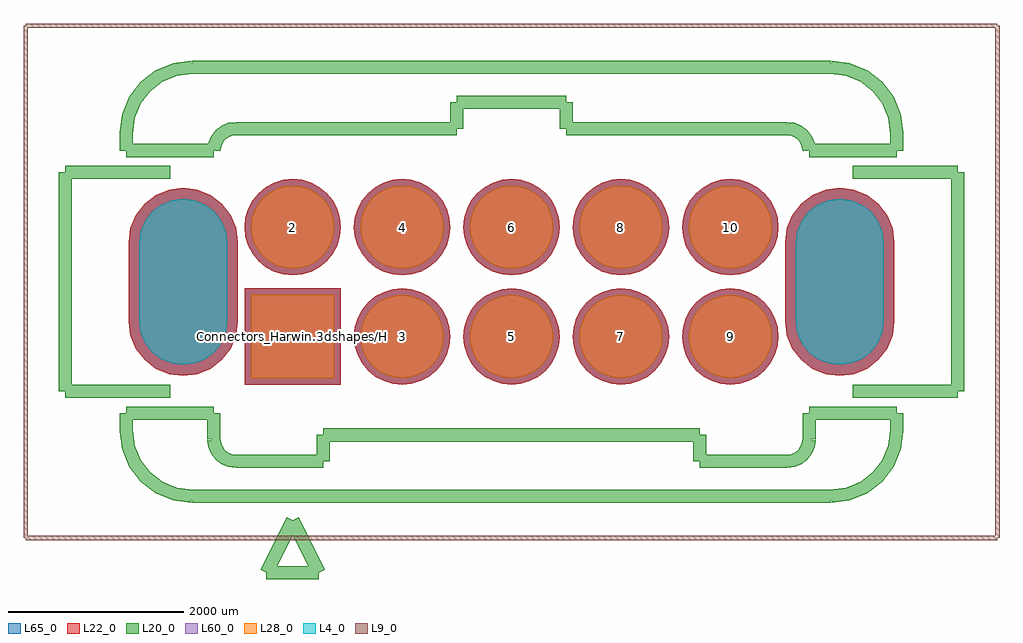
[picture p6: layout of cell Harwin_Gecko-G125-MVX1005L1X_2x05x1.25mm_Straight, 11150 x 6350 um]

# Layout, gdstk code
import gdstk
lib = gdstk.Library(unit=1e-6, precision=1e-09)
def R(c, l, rs):  # rectangles x0, y0, x1, y1
    for r in rs: c.add(gdstk.rectangle(r[:2], r[2:], *l))
def P(c, l, *ps):  # polygons
    for p in ps: c.add(gdstk.Polygon(p, *l))
L4_0 = (4, 0)
L9_0 = (9, 0)
L20_0 = (20, 0)
L22_0 = (22, 0)
L28_0 = (28, 0)
L60_0 = (60, 0)
L65_0 = (65, 0)

harwin_gecko_g125_mvx100 = lib.new_cell('Harwin_Gecko-G125-MVX1005L1X_2x05x1.25mm_Straight')
P(harwin_gecko_g125_mvx100, L4_0, [(6250,-325),(6379.41,-307.963),(6500,-258.013),(6603.553,-178.553),(6683.013,-75),(6732.963,45.59),(6750,175),(6750,1075),(6732.963,1204.41),(6683.013,1325),(6603.553,1428.553),(6500,1508.013),(6379.41,1557.963),(6250,1575),(6120.59,1557.963),(6000,1508.013),(5896.447,1428.553),(5816.987,1325),(5767.037,1204.41),(5750,1075),(5750,175),(5767.037,45.59),(5816.987,-75),(5896.447,-178.553),(6000,-258.013),(6120.59,-307.963)],
  [(-1250,-325),(-1120.59,-307.963),(-1000,-258.013),(-896.447,-178.553),(-816.987,-75),(-767.037,45.59),(-750,175),(-750,1075),(-767.037,1204.41),(-816.987,1325),(-896.447,1428.553),(-1000,1508.013),(-1120.59,1557.963),(-1250,1575),(-1379.41,1557.963),(-1500,1508.013),(-1603.553,1428.553),(-1683.013,1325),(-1732.963,1204.41),(-1750,1075),(-1750,175),(-1732.963,45.59),(-1683.013,-75),(-1603.553,-178.553),(-1500,-258.013),(-1379.41,-307.963)])
R(harwin_gecko_g125_mvx100, L22_0, [(-550,-550,550,550)])
P(harwin_gecko_g125_mvx100, L22_0, [(6250,-450),(6411.762,-428.704),(6562.5,-366.266),(6691.942,-266.942),(6791.266,-137.5),(6853.704,13.238),(6875,175),(6875,1075),(6853.704,1236.762),(6791.266,1387.5),(6691.942,1516.942),(6562.5,1616.266),(6411.762,1678.704),(6250,1700),(6088.238,1678.704),(5937.5,1616.266),(5808.058,1516.942),(5708.734,1387.5),(5646.296,1236.762),(5625,1075),(5625,175),(5646.296,13.238),(5708.734,-137.5),(5808.058,-266.942),(5937.5,-366.266),(6088.238,-428.704)],
  [(-1250,-450),(-1088.238,-428.704),(-937.5,-366.266),(-808.058,-266.942),(-708.734,-137.5),(-646.296,13.238),(-625,175),(-625,1075),(-646.296,1236.762),(-708.734,1387.5),(-808.058,1516.942),(-937.5,1616.266),(-1088.238,1678.704),(-1250,1700),(-1411.762,1678.704),(-1562.5,1616.266),(-1691.942,1516.942),(-1791.266,1387.5),(-1853.704,1236.762),(-1875,1075),(-1875,175),(-1853.704,13.238),(-1791.266,-137.5),(-1691.942,-266.942),(-1562.5,-366.266),(-1411.762,-428.704)],
  [(5550,1250),(5539.432,1357.3),(5508.134,1460.476),(5457.308,1555.564),(5388.909,1638.909),(5305.564,1707.308),(5210.476,1758.134),(5107.3,1789.432),(5000,1800),(4892.7,1789.432),(4789.524,1758.134),(4694.436,1707.308),(4611.091,1638.909),(4542.692,1555.564),(4491.866,1460.476),(4460.568,1357.3),(4450,1250),(4460.568,1142.7),(4491.866,1039.524),(4542.692,944.436),(4611.091,861.091),(4694.436,792.692),(4789.524,741.866),(4892.7,710.568),(5000,700),(5107.3,710.568),(5210.476,741.866),(5305.564,792.692),(5388.909,861.091),(5457.308,944.436),(5508.134,1039.524),(5539.432,1142.7)],
  [(4300,1250),(4289.432,1357.3),(4258.134,1460.476),(4207.308,1555.564),(4138.909,1638.909),(4055.564,1707.308),(3960.476,1758.134),(3857.3,1789.432),(3750,1800),(3642.7,1789.432),(3539.524,1758.134),(3444.436,1707.308),(3361.091,1638.909),(3292.692,1555.564),(3241.866,1460.476),(3210.568,1357.3),(3200,1250),(3210.568,1142.7),(3241.866,1039.524),(3292.692,944.436),(3361.091,861.091),(3444.436,792.692),(3539.524,741.866),(3642.7,710.568),(3750,700),(3857.3,710.568),(3960.476,741.866),(4055.564,792.692),(4138.909,861.091),(4207.308,944.436),(4258.134,1039.524),(4289.432,1142.7)],
  [(3050,1250),(3039.432,1357.3),(3008.134,1460.476),(2957.308,1555.564),(2888.909,1638.909),(2805.564,1707.308),(2710.476,1758.134),(2607.3,1789.432),(2500,1800),(2392.7,1789.432),(2289.524,1758.134),(2194.436,1707.308),(2111.091,1638.909),(2042.692,1555.564),(1991.866,1460.476),(1960.568,1357.3),(1950,1250),(1960.568,1142.7),(1991.866,1039.524),(2042.692,944.436),(2111.091,861.091),(2194.436,792.692),(2289.524,741.866),(2392.7,710.568),(2500,700),(2607.3,710.568),(2710.476,741.866),(2805.564,792.692),(2888.909,861.091),(2957.308,944.436),(3008.134,1039.524),(3039.432,1142.7)],
  [(1800,1250),(1789.432,1357.3),(1758.134,1460.476),(1707.308,1555.564),(1638.909,1638.909),(1555.564,1707.308),(1460.476,1758.134),(1357.3,1789.432),(1250,1800),(1142.7,1789.432),(1039.524,1758.134),(944.436,1707.308),(861.091,1638.909),(792.692,1555.564),(741.866,1460.476),(710.568,1357.3),(700,1250),(710.568,1142.7),(741.866,1039.524),(792.692,944.436),(861.091,861.091),(944.436,792.692),(1039.524,741.866),(1142.7,710.568),(1250,700),(1357.3,710.568),(1460.476,741.866),(1555.564,792.692),(1638.909,861.091),(1707.308,944.436),(1758.134,1039.524),(1789.432,1142.7)],
  [(550,1250),(539.432,1357.3),(508.134,1460.476),(457.308,1555.564),(388.909,1638.909),(305.564,1707.308),(210.476,1758.134),(107.3,1789.432),(0,1800),(-107.3,1789.432),(-210.476,1758.134),(-305.564,1707.308),(-388.909,1638.909),(-457.308,1555.564),(-508.134,1460.476),(-539.432,1357.3),(-550,1250),(-539.432,1142.7),(-508.134,1039.524),(-457.308,944.436),(-388.909,861.091),(-305.564,792.692),(-210.476,741.866),(-107.3,710.568),(0,700),(107.3,710.568),(210.476,741.866),(305.564,792.692),(388.909,861.091),(457.308,944.436),(508.134,1039.524),(539.432,1142.7)],
  [(5550,0),(5539.432,107.3),(5508.134,210.476),(5457.308,305.564),(5388.909,388.909),(5305.564,457.308),(5210.476,508.134),(5107.3,539.432),(5000,550),(4892.7,539.432),(4789.524,508.134),(4694.436,457.308),(4611.091,388.909),(4542.692,305.564),(4491.866,210.476),(4460.568,107.3),(4450,0),(4460.568,-107.3),(4491.866,-210.476),(4542.692,-305.564),(4611.091,-388.909),(4694.436,-457.308),(4789.524,-508.134),(4892.7,-539.432),(5000,-550),(5107.3,-539.432),(5210.476,-508.134),(5305.564,-457.308),(5388.909,-388.909),(5457.308,-305.564),(5508.134,-210.476),(5539.432,-107.3)],
  [(4300,0),(4289.432,107.3),(4258.134,210.476),(4207.308,305.564),(4138.909,388.909),(4055.564,457.308),(3960.476,508.134),(3857.3,539.432),(3750,550),(3642.7,539.432),(3539.524,508.134),(3444.436,457.308),(3361.091,388.909),(3292.692,305.564),(3241.866,210.476),(3210.568,107.3),(3200,0),(3210.568,-107.3),(3241.866,-210.476),(3292.692,-305.564),(3361.091,-388.909),(3444.436,-457.308),(3539.524,-508.134),(3642.7,-539.432),(3750,-550),(3857.3,-539.432),(3960.476,-508.134),(4055.564,-457.308),(4138.909,-388.909),(4207.308,-305.564),(4258.134,-210.476),(4289.432,-107.3)],
  [(3050,0),(3039.432,107.3),(3008.134,210.476),(2957.308,305.564),(2888.909,388.909),(2805.564,457.308),(2710.476,508.134),(2607.3,539.432),(2500,550),(2392.7,539.432),(2289.524,508.134),(2194.436,457.308),(2111.091,388.909),(2042.692,305.564),(1991.866,210.476),(1960.568,107.3),(1950,0),(1960.568,-107.3),(1991.866,-210.476),(2042.692,-305.564),(2111.091,-388.909),(2194.436,-457.308),(2289.524,-508.134),(2392.7,-539.432),(2500,-550),(2607.3,-539.432),(2710.476,-508.134),(2805.564,-457.308),(2888.909,-388.909),(2957.308,-305.564),(3008.134,-210.476),(3039.432,-107.3)],
  [(1800,0),(1789.432,107.3),(1758.134,210.476),(1707.308,305.564),(1638.909,388.909),(1555.564,457.308),(1460.476,508.134),(1357.3,539.432),(1250,550),(1142.7,539.432),(1039.524,508.134),(944.436,457.308),(861.091,388.909),(792.692,305.564),(741.866,210.476),(710.568,107.3),(700,0),(710.568,-107.3),(741.866,-210.476),(792.692,-305.564),(861.091,-388.909),(944.436,-457.308),(1039.524,-508.134),(1142.7,-539.432),(1250,-550),(1357.3,-539.432),(1460.476,-508.134),(1555.564,-457.308),(1638.909,-388.909),(1707.308,-305.564),(1758.134,-210.476),(1789.432,-107.3)])
R(harwin_gecko_g125_mvx100, L28_0, [(-475,-475,475,475)])
P(harwin_gecko_g125_mvx100, L28_0, [(5475,1250),(5465.873,1342.668),(5438.843,1431.775),(5394.948,1513.896),(5335.876,1585.876),(5263.896,1644.948),(5181.775,1688.843),(5092.668,1715.873),(5000,1725),(4907.332,1715.873),(4818.225,1688.843),(4736.104,1644.948),(4664.124,1585.876),(4605.052,1513.896),(4561.157,1431.775),(4534.127,1342.668),(4525,1250),(4534.127,1157.332),(4561.157,1068.225),(4605.052,986.104),(4664.124,914.124),(4736.104,855.052),(4818.225,811.157),(4907.332,784.127),(5000,775),(5092.668,784.127),(5181.775,811.157),(5263.896,855.052),(5335.876,914.124),(5394.948,986.104),(5438.843,1068.225),(5465.873,1157.332)],
  [(4225,1250),(4215.873,1342.668),(4188.843,1431.775),(4144.948,1513.896),(4085.876,1585.876),(4013.896,1644.948),(3931.775,1688.843),(3842.668,1715.873),(3750,1725),(3657.332,1715.873),(3568.225,1688.843),(3486.104,1644.948),(3414.124,1585.876),(3355.052,1513.896),(3311.157,1431.775),(3284.127,1342.668),(3275,1250),(3284.127,1157.332),(3311.157,1068.225),(3355.052,986.104),(3414.124,914.124),(3486.104,855.052),(3568.225,811.157),(3657.332,784.127),(3750,775),(3842.668,784.127),(3931.775,811.157),(4013.896,855.052),(4085.876,914.124),(4144.948,986.104),(4188.843,1068.225),(4215.873,1157.332)],
  [(2975,1250),(2965.873,1342.668),(2938.843,1431.775),(2894.948,1513.896),(2835.876,1585.876),(2763.896,1644.948),(2681.775,1688.843),(2592.668,1715.873),(2500,1725),(2407.332,1715.873),(2318.225,1688.843),(2236.104,1644.948),(2164.124,1585.876),(2105.052,1513.896),(2061.157,1431.775),(2034.127,1342.668),(2025,1250),(2034.127,1157.332),(2061.157,1068.225),(2105.052,986.104),(2164.124,914.124),(2236.104,855.052),(2318.225,811.157),(2407.332,784.127),(2500,775),(2592.668,784.127),(2681.775,811.157),(2763.896,855.052),(2835.876,914.124),(2894.948,986.104),(2938.843,1068.225),(2965.873,1157.332)],
  [(1725,1250),(1715.873,1342.668),(1688.843,1431.775),(1644.948,1513.896),(1585.876,1585.876),(1513.896,1644.948),(1431.775,1688.843),(1342.668,1715.873),(1250,1725),(1157.332,1715.873),(1068.225,1688.843),(986.104,1644.948),(914.124,1585.876),(855.052,1513.896),(811.157,1431.775),(784.127,1342.668),(775,1250),(784.127,1157.332),(811.157,1068.225),(855.052,986.104),(914.124,914.124),(986.104,855.052),(1068.225,811.157),(1157.332,784.127),(1250,775),(1342.668,784.127),(1431.775,811.157),(1513.896,855.052),(1585.876,914.124),(1644.948,986.104),(1688.843,1068.225),(1715.873,1157.332)],
  [(475,1250),(465.873,1342.668),(438.843,1431.775),(394.948,1513.896),(335.876,1585.876),(263.896,1644.948),(181.775,1688.843),(92.668,1715.873),(0,1725),(-92.668,1715.873),(-181.775,1688.843),(-263.896,1644.948),(-335.876,1585.876),(-394.948,1513.896),(-438.843,1431.775),(-465.873,1342.668),(-475,1250),(-465.873,1157.332),(-438.843,1068.225),(-394.948,986.104),(-335.876,914.124),(-263.896,855.052),(-181.775,811.157),(-92.668,784.127),(0,775),(92.668,784.127),(181.775,811.157),(263.896,855.052),(335.876,914.124),(394.948,986.104),(438.843,1068.225),(465.873,1157.332)],
  [(5475,0),(5465.873,92.668),(5438.843,181.775),(5394.948,263.896),(5335.876,335.876),(5263.896,394.948),(5181.775,438.843),(5092.668,465.873),(5000,475),(4907.332,465.873),(4818.225,438.843),(4736.104,394.948),(4664.124,335.876),(4605.052,263.896),(4561.157,181.775),(4534.127,92.668),(4525,0),(4534.127,-92.668),(4561.157,-181.775),(4605.052,-263.896),(4664.124,-335.876),(4736.104,-394.948),(4818.225,-438.843),(4907.332,-465.873),(5000,-475),(5092.668,-465.873),(5181.775,-438.843),(5263.896,-394.948),(5335.876,-335.876),(5394.948,-263.896),(5438.843,-181.775),(5465.873,-92.668)],
  [(4225,0),(4215.873,92.668),(4188.843,181.775),(4144.948,263.896),(4085.876,335.876),(4013.896,394.948),(3931.775,438.843),(3842.668,465.873),(3750,475),(3657.332,465.873),(3568.225,438.843),(3486.104,394.948),(3414.124,335.876),(3355.052,263.896),(3311.157,181.775),(3284.127,92.668),(3275,0),(3284.127,-92.668),(3311.157,-181.775),(3355.052,-263.896),(3414.124,-335.876),(3486.104,-394.948),(3568.225,-438.843),(3657.332,-465.873),(3750,-475),(3842.668,-465.873),(3931.775,-438.843),(4013.896,-394.948),(4085.876,-335.876),(4144.948,-263.896),(4188.843,-181.775),(4215.873,-92.668)],
  [(2975,0),(2965.873,92.668),(2938.843,181.775),(2894.948,263.896),(2835.876,335.876),(2763.896,394.948),(2681.775,438.843),(2592.668,465.873),(2500,475),(2407.332,465.873),(2318.225,438.843),(2236.104,394.948),(2164.124,335.876),(2105.052,263.896),(2061.157,181.775),(2034.127,92.668),(2025,0),(2034.127,-92.668),(2061.157,-181.775),(2105.052,-263.896),(2164.124,-335.876),(2236.104,-394.948),(2318.225,-438.843),(2407.332,-465.873),(2500,-475),(2592.668,-465.873),(2681.775,-438.843),(2763.896,-394.948),(2835.876,-335.876),(2894.948,-263.896),(2938.843,-181.775),(2965.873,-92.668)],
  [(1725,0),(1715.873,92.668),(1688.843,181.775),(1644.948,263.896),(1585.876,335.876),(1513.896,394.948),(1431.775,438.843),(1342.668,465.873),(1250,475),(1157.332,465.873),(1068.225,438.843),(986.104,394.948),(914.124,335.876),(855.052,263.896),(811.157,181.775),(784.127,92.668),(775,0),(784.127,-92.668),(811.157,-181.775),(855.052,-263.896),(914.124,-335.876),(986.104,-394.948),(1068.225,-438.843),(1157.332,-465.873),(1250,-475),(1342.668,-465.873),(1431.775,-438.843),(1513.896,-394.948),(1585.876,-335.876),(1644.948,-263.896),(1688.843,-181.775),(1715.873,-92.668)])
R(harwin_gecko_g125_mvx100, L60_0, [(-475,-475,475,475)])
P(harwin_gecko_g125_mvx100, L60_0, [(5475,1250),(5465.873,1342.668),(5438.843,1431.775),(5394.948,1513.896),(5335.876,1585.876),(5263.896,1644.948),(5181.775,1688.843),(5092.668,1715.873),(5000,1725),(4907.332,1715.873),(4818.225,1688.843),(4736.104,1644.948),(4664.124,1585.876),(4605.052,1513.896),(4561.157,1431.775),(4534.127,1342.668),(4525,1250),(4534.127,1157.332),(4561.157,1068.225),(4605.052,986.104),(4664.124,914.124),(4736.104,855.052),(4818.225,811.157),(4907.332,784.127),(5000,775),(5092.668,784.127),(5181.775,811.157),(5263.896,855.052),(5335.876,914.124),(5394.948,986.104),(5438.843,1068.225),(5465.873,1157.332)],
  [(4225,1250),(4215.873,1342.668),(4188.843,1431.775),(4144.948,1513.896),(4085.876,1585.876),(4013.896,1644.948),(3931.775,1688.843),(3842.668,1715.873),(3750,1725),(3657.332,1715.873),(3568.225,1688.843),(3486.104,1644.948),(3414.124,1585.876),(3355.052,1513.896),(3311.157,1431.775),(3284.127,1342.668),(3275,1250),(3284.127,1157.332),(3311.157,1068.225),(3355.052,986.104),(3414.124,914.124),(3486.104,855.052),(3568.225,811.157),(3657.332,784.127),(3750,775),(3842.668,784.127),(3931.775,811.157),(4013.896,855.052),(4085.876,914.124),(4144.948,986.104),(4188.843,1068.225),(4215.873,1157.332)],
  [(2975,1250),(2965.873,1342.668),(2938.843,1431.775),(2894.948,1513.896),(2835.876,1585.876),(2763.896,1644.948),(2681.775,1688.843),(2592.668,1715.873),(2500,1725),(2407.332,1715.873),(2318.225,1688.843),(2236.104,1644.948),(2164.124,1585.876),(2105.052,1513.896),(2061.157,1431.775),(2034.127,1342.668),(2025,1250),(2034.127,1157.332),(2061.157,1068.225),(2105.052,986.104),(2164.124,914.124),(2236.104,855.052),(2318.225,811.157),(2407.332,784.127),(2500,775),(2592.668,784.127),(2681.775,811.157),(2763.896,855.052),(2835.876,914.124),(2894.948,986.104),(2938.843,1068.225),(2965.873,1157.332)],
  [(1725,1250),(1715.873,1342.668),(1688.843,1431.775),(1644.948,1513.896),(1585.876,1585.876),(1513.896,1644.948),(1431.775,1688.843),(1342.668,1715.873),(1250,1725),(1157.332,1715.873),(1068.225,1688.843),(986.104,1644.948),(914.124,1585.876),(855.052,1513.896),(811.157,1431.775),(784.127,1342.668),(775,1250),(784.127,1157.332),(811.157,1068.225),(855.052,986.104),(914.124,914.124),(986.104,855.052),(1068.225,811.157),(1157.332,784.127),(1250,775),(1342.668,784.127),(1431.775,811.157),(1513.896,855.052),(1585.876,914.124),(1644.948,986.104),(1688.843,1068.225),(1715.873,1157.332)],
  [(475,1250),(465.873,1342.668),(438.843,1431.775),(394.948,1513.896),(335.876,1585.876),(263.896,1644.948),(181.775,1688.843),(92.668,1715.873),(0,1725),(-92.668,1715.873),(-181.775,1688.843),(-263.896,1644.948),(-335.876,1585.876),(-394.948,1513.896),(-438.843,1431.775),(-465.873,1342.668),(-475,1250),(-465.873,1157.332),(-438.843,1068.225),(-394.948,986.104),(-335.876,914.124),(-263.896,855.052),(-181.775,811.157),(-92.668,784.127),(0,775),(92.668,784.127),(181.775,811.157),(263.896,855.052),(335.876,914.124),(394.948,986.104),(438.843,1068.225),(465.873,1157.332)],
  [(5475,0),(5465.873,92.668),(5438.843,181.775),(5394.948,263.896),(5335.876,335.876),(5263.896,394.948),(5181.775,438.843),(5092.668,465.873),(5000,475),(4907.332,465.873),(4818.225,438.843),(4736.104,394.948),(4664.124,335.876),(4605.052,263.896),(4561.157,181.775),(4534.127,92.668),(4525,0),(4534.127,-92.668),(4561.157,-181.775),(4605.052,-263.896),(4664.124,-335.876),(4736.104,-394.948),(4818.225,-438.843),(4907.332,-465.873),(5000,-475),(5092.668,-465.873),(5181.775,-438.843),(5263.896,-394.948),(5335.876,-335.876),(5394.948,-263.896),(5438.843,-181.775),(5465.873,-92.668)],
  [(4225,0),(4215.873,92.668),(4188.843,181.775),(4144.948,263.896),(4085.876,335.876),(4013.896,394.948),(3931.775,438.843),(3842.668,465.873),(3750,475),(3657.332,465.873),(3568.225,438.843),(3486.104,394.948),(3414.124,335.876),(3355.052,263.896),(3311.157,181.775),(3284.127,92.668),(3275,0),(3284.127,-92.668),(3311.157,-181.775),(3355.052,-263.896),(3414.124,-335.876),(3486.104,-394.948),(3568.225,-438.843),(3657.332,-465.873),(3750,-475),(3842.668,-465.873),(3931.775,-438.843),(4013.896,-394.948),(4085.876,-335.876),(4144.948,-263.896),(4188.843,-181.775),(4215.873,-92.668)],
  [(2975,0),(2965.873,92.668),(2938.843,181.775),(2894.948,263.896),(2835.876,335.876),(2763.896,394.948),(2681.775,438.843),(2592.668,465.873),(2500,475),(2407.332,465.873),(2318.225,438.843),(2236.104,394.948),(2164.124,335.876),(2105.052,263.896),(2061.157,181.775),(2034.127,92.668),(2025,0),(2034.127,-92.668),(2061.157,-181.775),(2105.052,-263.896),(2164.124,-335.876),(2236.104,-394.948),(2318.225,-438.843),(2407.332,-465.873),(2500,-475),(2592.668,-465.873),(2681.775,-438.843),(2763.896,-394.948),(2835.876,-335.876),(2894.948,-263.896),(2938.843,-181.775),(2965.873,-92.668)],
  [(1725,0),(1715.873,92.668),(1688.843,181.775),(1644.948,263.896),(1585.876,335.876),(1513.896,394.948),(1431.775,438.843),(1342.668,465.873),(1250,475),(1157.332,465.873),(1068.225,438.843),(986.104,394.948),(914.124,335.876),(855.052,263.896),(811.157,181.775),(784.127,92.668),(775,0),(784.127,-92.668),(811.157,-181.775),(855.052,-263.896),(914.124,-335.876),(986.104,-394.948),(1068.225,-438.843),(1157.332,-465.873),(1250,-475),(1342.668,-465.873),(1431.775,-438.843),(1513.896,-394.948),(1585.876,-335.876),(1644.948,-263.896),(1688.843,-181.775),(1715.873,-92.668)])
R(harwin_gecko_g125_mvx100, L65_0, [(-550,-550,550,550)])
P(harwin_gecko_g125_mvx100, L65_0, [(6250,-450),(6411.762,-428.704),(6562.5,-366.266),(6691.942,-266.942),(6791.266,-137.5),(6853.704,13.238),(6875,175),(6875,1075),(6853.704,1236.762),(6791.266,1387.5),(6691.942,1516.942),(6562.5,1616.266),(6411.762,1678.704),(6250,1700),(6088.238,1678.704),(5937.5,1616.266),(5808.058,1516.942),(5708.734,1387.5),(5646.296,1236.762),(5625,1075),(5625,175),(5646.296,13.238),(5708.734,-137.5),(5808.058,-266.942),(5937.5,-366.266),(6088.238,-428.704)],
  [(-1250,-450),(-1088.238,-428.704),(-937.5,-366.266),(-808.058,-266.942),(-708.734,-137.5),(-646.296,13.238),(-625,175),(-625,1075),(-646.296,1236.762),(-708.734,1387.5),(-808.058,1516.942),(-937.5,1616.266),(-1088.238,1678.704),(-1250,1700),(-1411.762,1678.704),(-1562.5,1616.266),(-1691.942,1516.942),(-1791.266,1387.5),(-1853.704,1236.762),(-1875,1075),(-1875,175),(-1853.704,13.238),(-1791.266,-137.5),(-1691.942,-266.942),(-1562.5,-366.266),(-1411.762,-428.704)],
  [(5550,1250),(5539.432,1357.3),(5508.134,1460.476),(5457.308,1555.564),(5388.909,1638.909),(5305.564,1707.308),(5210.476,1758.134),(5107.3,1789.432),(5000,1800),(4892.7,1789.432),(4789.524,1758.134),(4694.436,1707.308),(4611.091,1638.909),(4542.692,1555.564),(4491.866,1460.476),(4460.568,1357.3),(4450,1250),(4460.568,1142.7),(4491.866,1039.524),(4542.692,944.436),(4611.091,861.091),(4694.436,792.692),(4789.524,741.866),(4892.7,710.568),(5000,700),(5107.3,710.568),(5210.476,741.866),(5305.564,792.692),(5388.909,861.091),(5457.308,944.436),(5508.134,1039.524),(5539.432,1142.7)],
  [(4300,1250),(4289.432,1357.3),(4258.134,1460.476),(4207.308,1555.564),(4138.909,1638.909),(4055.564,1707.308),(3960.476,1758.134),(3857.3,1789.432),(3750,1800),(3642.7,1789.432),(3539.524,1758.134),(3444.436,1707.308),(3361.091,1638.909),(3292.692,1555.564),(3241.866,1460.476),(3210.568,1357.3),(3200,1250),(3210.568,1142.7),(3241.866,1039.524),(3292.692,944.436),(3361.091,861.091),(3444.436,792.692),(3539.524,741.866),(3642.7,710.568),(3750,700),(3857.3,710.568),(3960.476,741.866),(4055.564,792.692),(4138.909,861.091),(4207.308,944.436),(4258.134,1039.524),(4289.432,1142.7)],
  [(3050,1250),(3039.432,1357.3),(3008.134,1460.476),(2957.308,1555.564),(2888.909,1638.909),(2805.564,1707.308),(2710.476,1758.134),(2607.3,1789.432),(2500,1800),(2392.7,1789.432),(2289.524,1758.134),(2194.436,1707.308),(2111.091,1638.909),(2042.692,1555.564),(1991.866,1460.476),(1960.568,1357.3),(1950,1250),(1960.568,1142.7),(1991.866,1039.524),(2042.692,944.436),(2111.091,861.091),(2194.436,792.692),(2289.524,741.866),(2392.7,710.568),(2500,700),(2607.3,710.568),(2710.476,741.866),(2805.564,792.692),(2888.909,861.091),(2957.308,944.436),(3008.134,1039.524),(3039.432,1142.7)],
  [(1800,1250),(1789.432,1357.3),(1758.134,1460.476),(1707.308,1555.564),(1638.909,1638.909),(1555.564,1707.308),(1460.476,1758.134),(1357.3,1789.432),(1250,1800),(1142.7,1789.432),(1039.524,1758.134),(944.436,1707.308),(861.091,1638.909),(792.692,1555.564),(741.866,1460.476),(710.568,1357.3),(700,1250),(710.568,1142.7),(741.866,1039.524),(792.692,944.436),(861.091,861.091),(944.436,792.692),(1039.524,741.866),(1142.7,710.568),(1250,700),(1357.3,710.568),(1460.476,741.866),(1555.564,792.692),(1638.909,861.091),(1707.308,944.436),(1758.134,1039.524),(1789.432,1142.7)],
  [(550,1250),(539.432,1357.3),(508.134,1460.476),(457.308,1555.564),(388.909,1638.909),(305.564,1707.308),(210.476,1758.134),(107.3,1789.432),(0,1800),(-107.3,1789.432),(-210.476,1758.134),(-305.564,1707.308),(-388.909,1638.909),(-457.308,1555.564),(-508.134,1460.476),(-539.432,1357.3),(-550,1250),(-539.432,1142.7),(-508.134,1039.524),(-457.308,944.436),(-388.909,861.091),(-305.564,792.692),(-210.476,741.866),(-107.3,710.568),(0,700),(107.3,710.568),(210.476,741.866),(305.564,792.692),(388.909,861.091),(457.308,944.436),(508.134,1039.524),(539.432,1142.7)],
  [(5550,0),(5539.432,107.3),(5508.134,210.476),(5457.308,305.564),(5388.909,388.909),(5305.564,457.308),(5210.476,508.134),(5107.3,539.432),(5000,550),(4892.7,539.432),(4789.524,508.134),(4694.436,457.308),(4611.091,388.909),(4542.692,305.564),(4491.866,210.476),(4460.568,107.3),(4450,0),(4460.568,-107.3),(4491.866,-210.476),(4542.692,-305.564),(4611.091,-388.909),(4694.436,-457.308),(4789.524,-508.134),(4892.7,-539.432),(5000,-550),(5107.3,-539.432),(5210.476,-508.134),(5305.564,-457.308),(5388.909,-388.909),(5457.308,-305.564),(5508.134,-210.476),(5539.432,-107.3)],
  [(4300,0),(4289.432,107.3),(4258.134,210.476),(4207.308,305.564),(4138.909,388.909),(4055.564,457.308),(3960.476,508.134),(3857.3,539.432),(3750,550),(3642.7,539.432),(3539.524,508.134),(3444.436,457.308),(3361.091,388.909),(3292.692,305.564),(3241.866,210.476),(3210.568,107.3),(3200,0),(3210.568,-107.3),(3241.866,-210.476),(3292.692,-305.564),(3361.091,-388.909),(3444.436,-457.308),(3539.524,-508.134),(3642.7,-539.432),(3750,-550),(3857.3,-539.432),(3960.476,-508.134),(4055.564,-457.308),(4138.909,-388.909),(4207.308,-305.564),(4258.134,-210.476),(4289.432,-107.3)],
  [(3050,0),(3039.432,107.3),(3008.134,210.476),(2957.308,305.564),(2888.909,388.909),(2805.564,457.308),(2710.476,508.134),(2607.3,539.432),(2500,550),(2392.7,539.432),(2289.524,508.134),(2194.436,457.308),(2111.091,388.909),(2042.692,305.564),(1991.866,210.476),(1960.568,107.3),(1950,0),(1960.568,-107.3),(1991.866,-210.476),(2042.692,-305.564),(2111.091,-388.909),(2194.436,-457.308),(2289.524,-508.134),(2392.7,-539.432),(2500,-550),(2607.3,-539.432),(2710.476,-508.134),(2805.564,-457.308),(2888.909,-388.909),(2957.308,-305.564),(3008.134,-210.476),(3039.432,-107.3)],
  [(1800,0),(1789.432,107.3),(1758.134,210.476),(1707.308,305.564),(1638.909,388.909),(1555.564,457.308),(1460.476,508.134),(1357.3,539.432),(1250,550),(1142.7,539.432),(1039.524,508.134),(944.436,457.308),(861.091,388.909),(792.692,305.564),(741.866,210.476),(710.568,107.3),(700,0),(710.568,-107.3),(741.866,-210.476),(792.692,-305.564),(861.091,-388.909),(944.436,-457.308),(1039.524,-508.134),(1142.7,-539.432),(1250,-550),(1357.3,-539.432),(1460.476,-508.134),(1555.564,-457.308),(1638.909,-388.909),(1707.308,-305.564),(1758.134,-210.476),(1789.432,-107.3)])
harwin_gecko_g125_mvx100.add(gdstk.FlexPath([(300,-2700),(0,-2100)], 149.998, ends="flush", simple_path=True, layer=20, datatype=0))  # L20_0
harwin_gecko_g125_mvx100.add(gdstk.FlexPath([(-300,-2700),(300,-2700)], 149.998, ends="flush", simple_path=True, layer=20, datatype=0))  # L20_0
harwin_gecko_g125_mvx100.add(gdstk.FlexPath([(0,-2100),(-300,-2700)], 149.998, ends="flush", simple_path=True, layer=20, datatype=0))  # L20_0
harwin_gecko_g125_mvx100.add(gdstk.FlexPath([(8050,3550),(-3050,3550)], 50, ends="flush", simple_path=True, layer=9, datatype=0))  # L9_0
harwin_gecko_g125_mvx100.add(gdstk.FlexPath([(8050,-2300),(8050,3550)], 50, ends="flush", simple_path=True, layer=9, datatype=0))  # L9_0
harwin_gecko_g125_mvx100.add(gdstk.FlexPath([(-3050,-2300),(8050,-2300)], 50, ends="flush", simple_path=True, layer=9, datatype=0))  # L9_0
harwin_gecko_g125_mvx100.add(gdstk.FlexPath([(-3050,3550),(-3050,-2300)], 50, ends="flush", simple_path=True, layer=9, datatype=0))  # L9_0
harwin_gecko_g125_mvx100.add(gdstk.FlexPath([(7600,-625),(6400,-625)], 149.998, ends="flush", simple_path=True, layer=20, datatype=0))  # L20_0
harwin_gecko_g125_mvx100.add(gdstk.FlexPath([(7600,1875),(7600,-625)], 149.998, ends="flush", simple_path=True, layer=20, datatype=0))  # L20_0
harwin_gecko_g125_mvx100.add(gdstk.FlexPath([(6400,1875),(7600,1875)], 149.998, ends="flush", simple_path=True, layer=20, datatype=0))  # L20_0
harwin_gecko_g125_mvx100.add(gdstk.FlexPath([(-2600,-625),(-1400,-625)], 149.998, ends="flush", simple_path=True, layer=20, datatype=0))  # L20_0
harwin_gecko_g125_mvx100.add(gdstk.FlexPath([(-2600,1875),(-2600,-625)], 149.998, ends="flush", simple_path=True, layer=20, datatype=0))  # L20_0
harwin_gecko_g125_mvx100.add(gdstk.FlexPath([(-1400,1875),(-2600,1875)], 149.998, ends="flush", simple_path=True, layer=20, datatype=0))  # L20_0
harwin_gecko_g125_mvx100.add(gdstk.FlexPath([(5900,-1175),(5900,-875)], 149.998, ends="flush", simple_path=True, layer=20, datatype=0))  # L20_0
harwin_gecko_g125_mvx100.add(gdstk.FlexPath([(-900,-1175),(-900,-875)], 149.998, ends="flush", simple_path=True, layer=20, datatype=0))  # L20_0
harwin_gecko_g125_mvx100.add(gdstk.FlexPath([(-900,-875),(-900,-875)], 149.998, ends="flush", simple_path=True, layer=20, datatype=0))  # L20_0
harwin_gecko_g125_mvx100.add(gdstk.FlexPath([(-1900,-875),(-900,-875)], 149.998, ends="flush", simple_path=True, layer=20, datatype=0))  # L20_0
harwin_gecko_g125_mvx100.add(gdstk.FlexPath([(-1900,-1075),(-1900,-875)], 149.998, ends="flush", simple_path=True, layer=20, datatype=0))  # L20_0
harwin_gecko_g125_mvx100.add(gdstk.FlexPath([(5900,-875),(5900,-875)], 149.998, ends="flush", simple_path=True, layer=20, datatype=0))  # L20_0
harwin_gecko_g125_mvx100.add(gdstk.FlexPath([(6900,-875),(5900,-875)], 149.998, ends="flush", simple_path=True, layer=20, datatype=0))  # L20_0
harwin_gecko_g125_mvx100.add(gdstk.FlexPath([(6900,-1075),(6900,-875)], 149.998, ends="flush", simple_path=True, layer=20, datatype=0))  # L20_0
harwin_gecko_g125_mvx100.add(gdstk.FlexPath([(5900,2125),(5900,2125)], 149.998, ends="flush", simple_path=True, layer=20, datatype=0))  # L20_0
harwin_gecko_g125_mvx100.add(gdstk.FlexPath([(6900,2125),(5900,2125)], 149.998, ends="flush", simple_path=True, layer=20, datatype=0))  # L20_0
harwin_gecko_g125_mvx100.add(gdstk.FlexPath([(6900,2325),(6900,2125)], 149.998, ends="flush", simple_path=True, layer=20, datatype=0))  # L20_0
harwin_gecko_g125_mvx100.add(gdstk.FlexPath([(-900,2125),(-900,2125)], 149.998, ends="flush", simple_path=True, layer=20, datatype=0))  # L20_0
harwin_gecko_g125_mvx100.add(gdstk.FlexPath([(-1900,2125),(-900,2125)], 149.998, ends="flush", simple_path=True, layer=20, datatype=0))  # L20_0
harwin_gecko_g125_mvx100.add(gdstk.FlexPath([(-1900,2325),(-1900,2125)], 149.998, ends="flush", simple_path=True, layer=20, datatype=0))  # L20_0
harwin_gecko_g125_mvx100.add(gdstk.FlexPath([(3125,2375),(5650,2375)], 149.998, ends="flush", simple_path=True, layer=20, datatype=0))  # L20_0
harwin_gecko_g125_mvx100.add(gdstk.FlexPath([(3125,2675),(3125,2375)], 149.998, ends="flush", simple_path=True, layer=20, datatype=0))  # L20_0
harwin_gecko_g125_mvx100.add(gdstk.FlexPath([(1875,2675),(3125,2675)], 149.998, ends="flush", simple_path=True, layer=20, datatype=0))  # L20_0
harwin_gecko_g125_mvx100.add(gdstk.FlexPath([(1875,2375),(1875,2675)], 149.998, ends="flush", simple_path=True, layer=20, datatype=0))  # L20_0
harwin_gecko_g125_mvx100.add(gdstk.FlexPath([(-650,2375),(1875,2375)], 149.998, ends="flush", simple_path=True, layer=20, datatype=0))  # L20_0
harwin_gecko_g125_mvx100.add(gdstk.FlexPath([(4650,-1425),(5650,-1425)], 149.998, ends="flush", simple_path=True, layer=20, datatype=0))  # L20_0
harwin_gecko_g125_mvx100.add(gdstk.FlexPath([(4650,-1125),(4650,-1425)], 149.998, ends="flush", simple_path=True, layer=20, datatype=0))  # L20_0
harwin_gecko_g125_mvx100.add(gdstk.FlexPath([(350,-1125),(4650,-1125)], 149.998, ends="flush", simple_path=True, layer=20, datatype=0))  # L20_0
harwin_gecko_g125_mvx100.add(gdstk.FlexPath([(350,-1425),(350,-1125)], 149.998, ends="flush", simple_path=True, layer=20, datatype=0))  # L20_0
harwin_gecko_g125_mvx100.add(gdstk.FlexPath([(-650,-1425),(350,-1425)], 149.998, ends="flush", simple_path=True, layer=20, datatype=0))  # L20_0
harwin_gecko_g125_mvx100.add(gdstk.FlexPath([(-1150,-1825),(6150,-1825)], 149.998, ends="flush", simple_path=True, layer=20, datatype=0))  # L20_0
harwin_gecko_g125_mvx100.add(gdstk.FlexPath([(-1150,3075),(6150,3075)], 149.998, ends="flush", simple_path=True, layer=20, datatype=0))  # L20_0
harwin_gecko_g125_mvx100.add(gdstk.FlexPath([(-900,-1175),(-891.481,-1239.705),(-866.506,-1300),(-826.777,-1351.777),(-775,-1391.506),(-714.705,-1416.481),(-650,-1425)], 149.998, ends="flush", simple_path=True, layer=20, datatype=0))  # L20_0
harwin_gecko_g125_mvx100.add(gdstk.FlexPath([(5650,-1425),(5714.705,-1416.481),(5775,-1391.506),(5826.777,-1351.777),(5866.506,-1300),(5891.481,-1239.705),(5900,-1175)], 149.998, ends="flush", simple_path=True, layer=20, datatype=0))  # L20_0
harwin_gecko_g125_mvx100.add(gdstk.FlexPath([(5900,2125),(5891.481,2189.705),(5866.506,2250),(5826.777,2301.777),(5775,2341.506),(5714.705,2366.481),(5650,2375)], 149.998, ends="flush", simple_path=True, layer=20, datatype=0))  # L20_0
harwin_gecko_g125_mvx100.add(gdstk.FlexPath([(-650,2375),(-714.705,2366.481),(-775,2341.506),(-826.777,2301.777),(-866.506,2250),(-891.481,2189.705),(-900,2125)], 149.998, ends="flush", simple_path=True, layer=20, datatype=0))  # L20_0
harwin_gecko_g125_mvx100.add(gdstk.FlexPath([(-1900,-1075),(-1874.444,-1269.114),(-1799.519,-1450),(-1680.33,-1605.33),(-1525,-1724.519),(-1344.114,-1799.444),(-1150,-1825)], 149.998, ends="flush", simple_path=True, layer=20, datatype=0))  # L20_0
harwin_gecko_g125_mvx100.add(gdstk.FlexPath([(6150,-1825),(6344.114,-1799.444),(6525,-1724.519),(6680.33,-1605.33),(6799.519,-1450),(6874.444,-1269.114),(6900,-1075)], 149.998, ends="flush", simple_path=True, layer=20, datatype=0))  # L20_0
harwin_gecko_g125_mvx100.add(gdstk.FlexPath([(6900,2325),(6874.444,2519.114),(6799.519,2700),(6680.33,2855.33),(6525,2974.519),(6344.114,3049.444),(6150,3075)], 149.998, ends="flush", simple_path=True, layer=20, datatype=0))  # L20_0
harwin_gecko_g125_mvx100.add(gdstk.FlexPath([(-1150,3075),(-1344.114,3049.444),(-1525,2974.519),(-1680.33,2855.33),(-1799.519,2700),(-1874.444,2519.114),(-1900,2325)], 149.998, ends="flush", simple_path=True, layer=20, datatype=0))  # L20_0
harwin_gecko_g125_mvx100.add(gdstk.Label('Connectors_Harwin.3dshapes/Harwin_Gecko-G125-MVX1005L1X_2x05x1.25mm_Straight.wrl', (0,0), layer=12, texttype=0))
harwin_gecko_g125_mvx100.add(gdstk.Label('10', (5000,1250), layer=28, texttype=0))
harwin_gecko_g125_mvx100.add(gdstk.Label('8', (3750,1250), layer=28, texttype=0))
harwin_gecko_g125_mvx100.add(gdstk.Label('6', (2500,1250), layer=28, texttype=0))
harwin_gecko_g125_mvx100.add(gdstk.Label('4', (1250,1250), layer=28, texttype=0))
harwin_gecko_g125_mvx100.add(gdstk.Label('2', (0,1250), layer=28, texttype=0))
harwin_gecko_g125_mvx100.add(gdstk.Label('9', (5000,0), layer=28, texttype=0))
harwin_gecko_g125_mvx100.add(gdstk.Label('7', (3750,0), layer=28, texttype=0))
harwin_gecko_g125_mvx100.add(gdstk.Label('5', (2500,0), layer=28, texttype=0))
harwin_gecko_g125_mvx100.add(gdstk.Label('3', (1250,0), layer=28, texttype=0))
harwin_gecko_g125_mvx100.add(gdstk.Label('1', (0,0), layer=28, texttype=0))
harwin_gecko_g125_mvx100.add(gdstk.Label('type', (2500,4300), layer=9, texttype=0))
harwin_gecko_g125_mvx100.add(gdstk.Label('devicename', (2500,-3500), layer=9, texttype=0))

lib.write_gds('Harwin_Gecko-G125-MVX1005L1X_2x05x1.25mm_Straight.gds')
